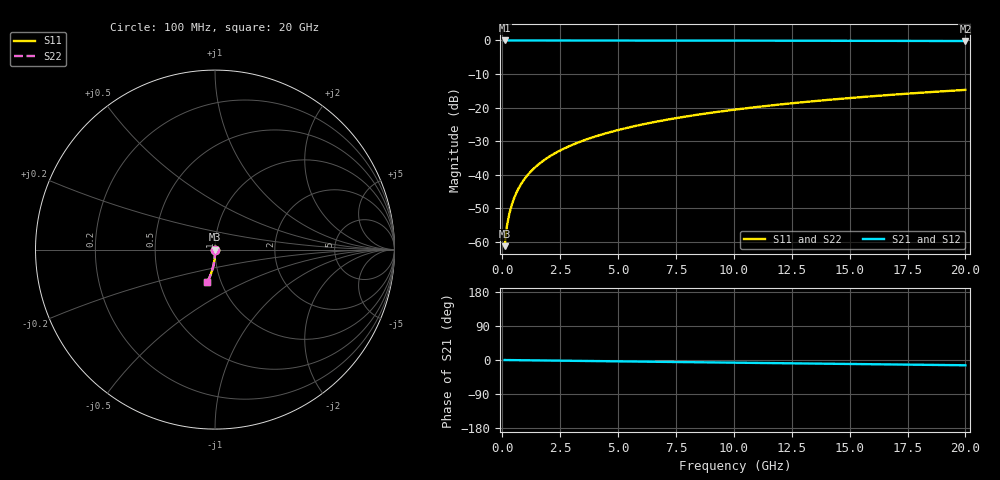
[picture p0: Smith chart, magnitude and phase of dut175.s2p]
! Touchstone file exported from HFSS 2026.1.0
!  File:  C:/ffzhzh/LocalFiles/Ansys_Project_Files/temp_train_TSV_175_1782991163_6248.aedt
!  Generated:  07:20:37 PM Jul  2, 2026
!  Design:  TSV
!  Project:  temp_train_TSV_175_1782991163_6248
! Variables:
!  h_bsmrdl = 2um
!  h_ox = 20um
!  h_rdl = 5um
!  h_sub = 98.74um
!  h_tmrdl = 5um
!  h_tsv = 98.74um
!  h_via = 3um
!  l_bsmrdl = 300um
!  l_sub = 421.96um
!  l_tmrdl = 200um
!  m_sub = 200um
!  pitch = 24.41um
!  r_tsv = 10.98um
!  s_tmrdl = 10um
!  w_bsmrdl = 18um
!  w_sub = 500um
!  w_tmrdl = 12um
!  x_tsv_center1 = 206um
!  x_tsv_center2 = 524um
!  x_tsv_center3 = 736um
!  x_tsv_center4 = 1054um
!  x_tsv_center5 = 1266um
!  x_tsv_center6 = 1584um
# GHz S MA R 50.000000
! Terminal data exported
! Port[1] = TSV1_1_T1
! Port[2] = TSV1_1_T2
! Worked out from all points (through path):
!   200 points, 100 MHz to 20 GHz, reference 50 ohm
!   highest |S21| = 0.00 dB at 100 MHz (marker M1); lowest = -0.2 dB at 20 GHz (marker M2)
!   group delay of S21, straight-line fit = 1.93 ps
!   lowest |S11| = -61.3 dB at 100 MHz (marker M3), VSWR 1.00, Z = 50 - j0.0848 ohm
!   |S11| at or under -10 dB: start of sweep to end of sweep
!   |S22| runs from -61.3 to -14.7 dB; largest |S21 - S12| = 3.2e-15
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0.1  0.0008625 -79.4  0.9998 -0.1  0.9998 -0.1  0.0008625 -79.4
! Gamma 0 0 0 0
! Port Impedance 50 0 50 0
0.2  0.001716 -83.7  0.9998 -0.2  0.9998 -0.2  0.001716 -83.7
0.3  0.002589 -85.0  0.9998 -0.2  0.9998 -0.2  0.002589 -85.0
0.4  0.003479 -85.5  0.9997 -0.3  0.9997 -0.3  0.003479 -85.5
0.5  0.004384 -85.9  0.9997 -0.4  0.9997 -0.4  0.004384 -85.9
0.7  0.006222 -86.6  0.9996 -0.5  0.9996 -0.5  0.006222 -86.6
0.8  0.007148 -86.9  0.9995 -0.6  0.9995 -0.6  0.007148 -86.9
1  0.009009 -87.4  0.9994 -0.7  0.9994 -0.7  0.009009 -87.4
1.2  0.01087 -87.9  0.9994 -0.9  0.9994 -0.9  0.01087 -87.9
1.4  0.01274 -88.3  0.9993 -1.0  0.9993 -1.0  0.01274 -88.3
1.7  0.01553 -88.8  0.9992 -1.2  0.9992 -1.2  0.01553 -88.8
2  0.01832 -89.2  0.9991 -1.4  0.9991 -1.4  0.01832 -89.2
2.7  0.02484 -90.1  0.9989 -1.9  0.9989 -1.9  0.02484 -90.1
3.5  0.03229 -90.9  0.9986 -2.5  0.9986 -2.5  0.03229 -90.9
4.2  0.03882 -91.5  0.9982 -3.0  0.9982 -3.0  0.03882 -91.5
5  0.04629 -92.2  0.9978 -3.5  0.9978 -3.5  0.04629 -92.2
6.8  0.06309 -93.6  0.9967 -4.8  0.9967 -4.8  0.06309 -93.6
8.3  0.07707 -94.7  0.9955 -5.9  0.9955 -5.9  0.07707 -94.7
10.1  0.09378 -96.1  0.9939 -7.1  0.9939 -7.1  0.09378 -96.1
13.4  0.1242 -98.5  0.9903 -9.4  0.9903 -9.4  0.1242 -98.5
16.7  0.1542 -100.9  0.9858 -11.7  0.9858 -11.7  0.1542 -100.9
20  0.1837 -103.2  0.9805 -13.9  0.9805 -13.9  0.1837 -103.2
